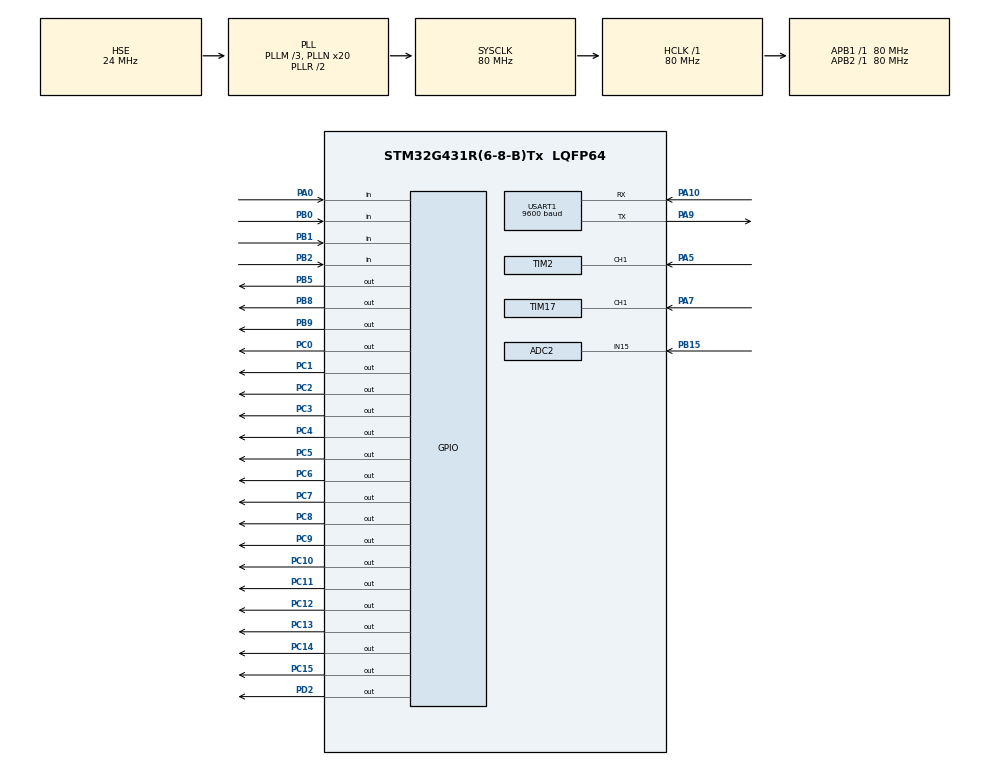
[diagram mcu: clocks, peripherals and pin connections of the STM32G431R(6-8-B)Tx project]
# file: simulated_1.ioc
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ADC2.Channel-0\#ChannelRegularConversion=ADC_CHANNEL_15
ADC2.ContinuousConvMode=DISABLE
ADC2.NbrOfConversionFlag=1
ADC2.OffsetNumber-0\#ChannelRegularConversion=ADC_OFFSET_NONE
ADC2.Rank-0\#ChannelRegularConversion=1
ADC2.SamplingTime-0\#ChannelRegularConversion=ADC_SAMPLETIME_2CYCLES_5
Mcu.Family=STM32G4
Mcu.Name=STM32G431R(6-8-B)Tx
Mcu.Package=LQFP64
NVIC.PriorityGroup=NVIC_PRIORITYGROUP_4
NVIC.TIM1_TRG_COM_TIM17_IRQn=true\:0\:0\:false\:false\:true\:true\:true\:true
NVIC.TIM2_IRQn=true\:0\:0\:false\:false\:true\:true\:true\:true
NVIC.USART1_IRQn=true\:0\:0\:false\:false\:true\:true\:true\:true
PA0.GPIO_PuPd=GPIO_PULLUP
PA0.Signal=GPIO_Input
PA10.Mode=Asynchronous
PA10.Signal=USART1_RX
PA13.Mode=Serial_Wire
PA13.Signal=SYS_JTMS-SWDIO
PA14.Mode=Serial_Wire
PA14.Signal=SYS_JTCK-SWCLK
PA5.Signal=S_TIM2_CH1
PA7.Signal=S_TIM17_CH1
PA9.Mode=Asynchronous
PA9.Signal=USART1_TX
PB0.GPIO_PuPd=GPIO_PULLUP
PB0.Signal=GPIO_Input
PB1.GPIO_PuPd=GPIO_PULLUP
PB1.Signal=GPIO_Input
PB15.Mode=IN15-Single-Ended
PB15.Signal=ADC2_IN15
PB2.GPIO_PuPd=GPIO_PULLUP
PB2.Signal=GPIO_Input
PB5.Signal=GPIO_Output
PB8-BOOT0.Signal=GPIO_Output
PB9.Signal=GPIO_Output
PC0.Signal=GPIO_Output
PC1.Signal=GPIO_Output
PC10.Signal=GPIO_Output
PC11.Signal=GPIO_Output
PC12.Signal=GPIO_Output
PC13.Signal=GPIO_Output
PC14-OSC32_IN.Signal=GPIO_Output
PC15-OSC32_OUT.Signal=GPIO_Output
PC2.Signal=GPIO_Output
PC3.Signal=GPIO_Output
PC4.Signal=GPIO_Output
PC5.Signal=GPIO_Output
PC6.Signal=GPIO_Output
PC7.Signal=GPIO_Output
PC8.Signal=GPIO_Output
PC9.Signal=GPIO_Output
PD2.Signal=GPIO_Output
PF0-OSC_IN.Mode=HSE-External-Oscillator
PF0-OSC_IN.Signal=RCC_OSC_IN
PF1-OSC_OUT.Mode=HSE-External-Oscillator
PF1-OSC_OUT.Signal=RCC_OSC_OUT
ProjectManager.HeapSize=0x200
ProjectManager.StackSize=0x400
ProjectManager.TargetToolchain=MDK-ARM V5.32
RCC.ADC12Freq_Value=80000000
RCC.AHBFreq_Value=80000000
RCC.APB1Freq_Value=80000000
RCC.APB1TimFreq_Value=80000000
RCC.APB2Freq_Value=80000000
RCC.APB2TimFreq_Value=80000000
RCC.CortexFreq_Value=80000000
RCC.EXTERNAL_CLOCK_VALUE=12288000
RCC.HCLKFreq_Value=80000000
RCC.HSE_VALUE=24000000
RCC.HSI48_VALUE=48000000
RCC.HSI_VALUE=16000000
RCC.LSE_VALUE=32768
RCC.PLLM=RCC_PLLM_DIV3
RCC.PLLN=20
RCC.PLLSourceVirtual=RCC_PLLSOURCE_HSE
RCC.SYSCLKFreq_VALUE=80000000
RCC.SYSCLKSource=RCC_SYSCLKSOURCE_PLLCLK
RCC.USBFreq_Value=80000000
RCC.VCOOutputFreq_Value=160000000
SH.S_TIM17_CH1.0=TIM17_CH1,Input_Capture1_from_TI1
SH.S_TIM2_CH1.0=TIM2_CH1,Input_Capture1_from_TI1
TIM17.AutoReloadPreload=TIM_AUTORELOAD_PRELOAD_ENABLE
TIM17.Channel=TIM_CHANNEL_1
TIM17.PeriodNoDither=100-1
TIM17.Prescaler=800-1
TIM2.AutoReloadPreload=TIM_AUTORELOAD_PRELOAD_ENABLE
TIM2.Channel-Input_Capture1_from_TI1=TIM_CHANNEL_1
TIM2.Prescaler=80-1
USART1.BaudRate=9600
USART1.VirtualMode-Asynchronous=VM_ASYNC
VP_SYS_VS_DBSignals.Mode=DisableDeadBatterySignals
VP_TIM17_VS_ClockSourceINT.Mode=Enable_Timer
VP_TIM2_VS_ClockSourceINT.Mode=Internal
board=custom

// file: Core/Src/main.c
/* USER CODE BEGIN Header */
/**
  ******************************************************************************
  * @file           : main.c
  * @brief          : Main program body
  ******************************************************************************
  * @attention
  *
  * Copyright (c) 2025 STMicroelectronics.
  * All rights reserved.
  *
  * This software is licensed under terms that can be found in the LICENSE file
  * in the root directory of this software component.
  * If no LICENSE file comes with this software, it is provided AS-IS.
  *
  ******************************************************************************
  */
/* USER CODE END Header */
#include "main.h"
#include "adc.h"
#include "tim.h"
#include "usart.h"
#include "gpio.h"

/* USER CODE BEGIN PV */
u8 lcd_mod=0,direction=0;
double V_R37,distance=80.3;
u8 B1=0,B2=0,B3=0,B4=0,B11=0,B22=0,B33=0,B44=0;
u16 TIM_5S=0,TIM_5S_CON=0,TIM_100=0;
u8 L_OVER_FLAG=0,R_OVER_FLAG=0;
u8 LD1=0,LD2=0;
u8 rx[10],rx_len=0,rx_count=0;
/* USER CODE END PV */

void SystemClock_Config(void);

/* USER CODE BEGIN 0 */
void HAL_TIM_PeriodElapsedCallback(TIM_HandleTypeDef *htim)
{
	if(htim->Instance==TIM17)
	{
		if(TIM_5S_CON==1&&lcd_mod==0)
		if(++TIM_5S==5000)
		{
			char text[20];
			sprintf(text,"Warn\r\n");
			HAL_UART_Transmit(&huart1,(uint8_t *)text,6,HAL_MAX_DELAY);
			direction=0;
			lcd_mod=1;
			TIM_5S=LD1=LD2=TIM_100=0;
			TIM_5S_CON=0;
		}

		if(direction==0&&lcd_mod==0)
		{
			TIM_5S=LD1=LD2=TIM_100=0;
		}
		else if(direction==2&&lcd_mod==0)
		{
			if(++TIM_100==100)
			{
				LD2=0;
				LD1^=1;
				TIM_100=0;
			}
		}
		else if(direction==1&&lcd_mod==0)
		{
			if(++TIM_100==100)
			{
				LD1=0;
				LD2^=1;
				TIM_100=0;
			}
		}
	}
}
void lcd_proc(void)
{
	char text[21];
	if(lcd_mod==0)
	{
		sprintf(text,"        DATA        ");
		LCD_DisplayStringLine(Line1, (u8 *)text);
		if(direction==0) sprintf(text,"       N:S        ");
		else if(direction==1) sprintf(text,"       N:R        ");
		else if(direction==2) sprintf(text,"       N:L        ");
		LCD_DisplayStringLine(Line3, (u8 *)text);
		sprintf(text,"       D:%.1f        ",distance);
		LCD_DisplayStringLine(Line4, (u8 *)text);
	}
	if(lcd_mod==1)
	{
		sprintf(text,"                    ");
		LCD_DisplayStringLine(Line1, (u8 *)text);
		sprintf(text,"                    ");
		LCD_DisplayStringLine(Line3, (u8 *)text);
		sprintf(text,"        WARN        ");
		LCD_DisplayStringLine(Line4, (u8 *)text);
	}
}
void key_proc(void)
{
	if(HAL_GPIO_ReadPin(GPIOB,GPIO_PIN_0)==0) B1=1;
	else B1=0;
	if(HAL_GPIO_ReadPin(GPIOB,GPIO_PIN_1)==0) B2=1;
	else B2=0;
	if(HAL_GPIO_ReadPin(GPIOB,GPIO_PIN_2)==0) B3=1;
	else B3=0;
	if(HAL_GPIO_ReadPin(GPIOA,GPIO_PIN_0)==0) B4=1;
	else B4=0;
	if(B1==1&&B11==0)
	{
		B11=1;
		if(lcd_mod==1)
		{
			LCD_Clear(Black);
			char text[20];
			sprintf(text,"Success\r\n");
			HAL_UART_Transmit(&huart1,(uint8_t *)text,9,HAL_MAX_DELAY);
			LCD_Clear(Black);
			lcd_mod=0;
		}
	}
	if(B11==1&&B1==0) B11=0;

	if(B3==1&&B33==0)
	{
		B33=1;
		if(lcd_mod==0)
		{
			if(direction==0)
			{
				char text[20];
				sprintf(text,"Warn\r\n");
				HAL_UART_Transmit(&huart1,(uint8_t *)text,6,HAL_MAX_DELAY);
				LCD_Clear(Black);
				lcd_mod=1;
			}
			else if(direction==2&&TIM_5S_CON==1)
			{
				char text[20];
				sprintf(text,"Success\r\n");
				HAL_UART_Transmit(&huart1,(uint8_t *)text,9,HAL_MAX_DELAY);
				TIM_5S_CON=0;
				L_OVER_FLAG=1;
				direction=0;
			}
		}

	}
	if(B33==1&&B3==0) B33=0;

	if(B4==1&&B44==0)
	{
		B44=1;
		if(lcd_mod==0)
		{
			if(direction==0)
			{
				char text[20];
				sprintf(text,"Warn\r\n");
				HAL_UART_Transmit(&huart1,(uint8_t *)text,6,HAL_MAX_DELAY);
				LCD_Clear(Black);
				lcd_mod=1;
			}
			else if(direction==1&&TIM_5S_CON==1)
			{
				char text[20];
				sprintf(text,"Success\r\n");
				HAL_UART_Transmit(&huart1,(uint8_t *)text,9,HAL_MAX_DELAY);
				TIM_5S_CON=0;
				R_OVER_FLAG=1;
				direction=0;
			}
		}
	}
	if(B44==1&&B4==0) B44=0;
}
/* USER CODE END 0 */

int main(void)
{

  /* MCU Configuration--------------------------------------------------------*/

  /* Reset of all peripherals, Initializes the Flash interface and the Systick. */
  HAL_Init();

  /* Configure the system clock */
  SystemClock_Config();

  /* Initialize all configured peripherals */
  MX_GPIO_Init();
  MX_ADC2_Init();
  MX_TIM2_Init();
  MX_TIM17_Init();
  MX_USART1_UART_Init();
  /* USER CODE BEGIN 2 */
    LCD_Init();
  /* USER CODE END 2 */

  /* Infinite loop */
  /* USER CODE BEGIN WHILE */
  HAL_TIM_Base_Start_IT(&htim17);
  __HAL_UART_ENABLE_IT(&huart1,UART_IT_RXNE);
  __HAL_UART_ENABLE_IT(&huart1,UART_IT_IDLE);
    LCD_SetBackColor(Black);
    LCD_SetTextColor(White);
	 LCD_Clear(Black);
	  HAL_GPIO_WritePin(GPIOC,(uint16_t)0xFF00,1);
	  HAL_GPIO_WritePin(GPIOD,GPIO_PIN_2,1);
	  HAL_GPIO_WritePin(GPIOD,GPIO_PIN_2,0);
  while (1)
  {
	  HAL_ADC_Start(&hadc2);
	  V_R37=HAL_ADC_GetValue(&hadc2)/4095.0*3.3;
	  if(V_R37<=3.0)	distance=V_R37*100.0;
	  else distance=300;
	  lcd_proc();
	  key_proc();
	  HAL_GPIO_WritePin(GPIOC,(uint16_t)0xff00,1);
	  HAL_GPIO_WritePin(GPIOC,GPIO_PIN_8,!LD1);
	  HAL_GPIO_WritePin(GPIOC,GPIO_PIN_9,!LD2);
	  if(lcd_mod==1)  HAL_GPIO_WritePin(GPIOC,GPIO_PIN_15,0);
	  else  HAL_GPIO_WritePin(GPIOC,GPIO_PIN_15,1);
	  HAL_GPIO_WritePin(GPIOD,GPIO_PIN_2,1);
	  HAL_GPIO_WritePin(GPIOD,GPIO_PIN_2,0);
	  if(TIM_5S_CON==1)	memset(rx,'\0',sizeof(rx));
	  if(TIM_5S_CON==0&&lcd_mod==0&&strcmp((char *)rx,"")!=0)
	  {
		  if(strcmp((char *)rx,"L")==0)
		  {
			  direction=2;
			  memset(rx,'\0',sizeof(rx));
			  TIM_5S_CON=1;
		  }
		  else if(strcmp((char *)rx,"R")==0)
		  {
			  direction=1;
			  memset(rx,'\0',sizeof(rx));
			  TIM_5S_CON=1;
		  }
		  else
		  {
			   memset(rx,'\0',sizeof(rx));
				char text[20];
				sprintf(text,"ERROR\r\n");
				HAL_UART_Transmit(&huart1,(uint8_t *)text,7,HAL_MAX_DELAY);
		  }
	  }
	  if(TIM_5S_CON==0&&lcd_mod==1&&strcmp((char *)rx,"")!=0)
	  {
			memset(rx,'\0',sizeof(rx));
			char text[20];
			sprintf(text,"WAIT\r\n");
			HAL_UART_Transmit(&huart1,(uint8_t *)text,6,HAL_MAX_DELAY);
	  }
    /* USER CODE END WHILE */

  }
}

void SystemClock_Config(void)
{
  RCC_OscInitTypeDef RCC_OscInitStruct = {0};
  RCC_ClkInitTypeDef RCC_ClkInitStruct = {0};

  /** Configure the main internal regulator output voltage
  */
  HAL_PWREx_ControlVoltageScaling(PWR_REGULATOR_VOLTAGE_SCALE1);

  /** Initializes the RCC Oscillators according to the specified parameters
  * in the RCC_OscInitTypeDef structure.
  */
  RCC_OscInitStruct.OscillatorType = RCC_OSCILLATORTYPE_HSE;
  RCC_OscInitStruct.HSEState = RCC_HSE_ON;
  RCC_OscInitStruct.PLL.PLLState = RCC_PLL_ON;
  RCC_OscInitStruct.PLL.PLLSource = RCC_PLLSOURCE_HSE;
  RCC_OscInitStruct.PLL.PLLM = RCC_PLLM_DIV3;
  RCC_OscInitStruct.PLL.PLLN = 20;
  RCC_OscInitStruct.PLL.PLLP = RCC_PLLP_DIV2;
  RCC_OscInitStruct.PLL.PLLQ = RCC_PLLQ_DIV2;
  RCC_OscInitStruct.PLL.PLLR = RCC_PLLR_DIV2;
  if (HAL_RCC_OscConfig(&RCC_OscInitStruct) != HAL_OK)
  {
    Error_Handler();
  }

  /** Initializes the CPU, AHB and APB buses clocks
  */
  RCC_ClkInitStruct.ClockType = RCC_CLOCKTYPE_HCLK|RCC_CLOCKTYPE_SYSCLK
                              |RCC_CLOCKTYPE_PCLK1|RCC_CLOCKTYPE_PCLK2;
  RCC_ClkInitStruct.SYSCLKSource = RCC_SYSCLKSOURCE_PLLCLK;
  RCC_ClkInitStruct.AHBCLKDivider = RCC_SYSCLK_DIV1;
  RCC_ClkInitStruct.APB1CLKDivider = RCC_HCLK_DIV1;
  RCC_ClkInitStruct.APB2CLKDivider = RCC_HCLK_DIV1;

  if (HAL_RCC_ClockConfig(&RCC_ClkInitStruct, FLASH_LATENCY_2) != HAL_OK)
  {
    Error_Handler();
  }
}

void Error_Handler(void)
{
  __disable_irq();
  while (1)
  {
  }
}
